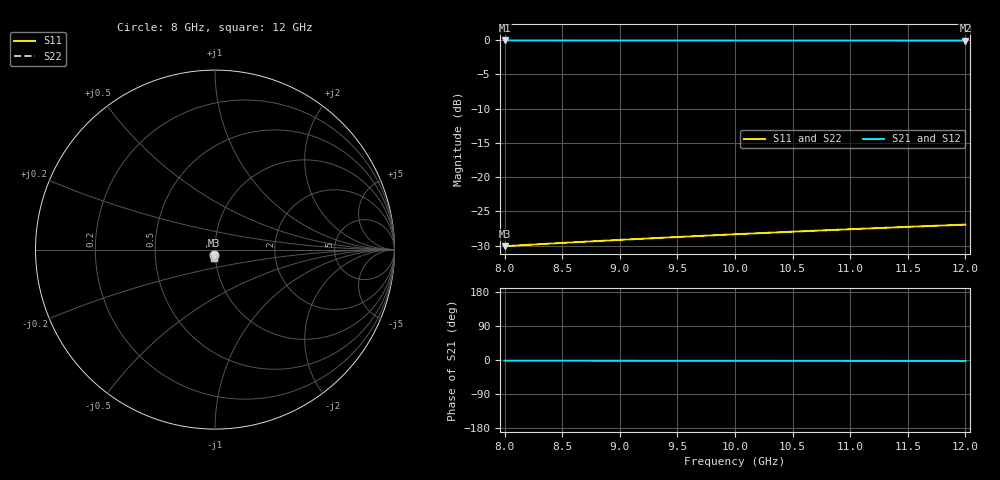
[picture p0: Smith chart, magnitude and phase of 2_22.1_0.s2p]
! Created Wed Oct 21 16:19:09 2020
# ghz S db R 50
! 2 Port Network Data from SP1.SP block
! freq  dbS11  angS11  dbS21  angS21  dbS12  angS12  dbS22  angS22
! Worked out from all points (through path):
!   9 points, 8 GHz to 12 GHz, reference 50 ohm
!   highest |S21| = -0.04 dB at 8 GHz (marker M1); lowest = -0.1 dB at 12 GHz (marker M2)
!   lowest |S11| = -30.1 dB at 8 GHz (marker M3), VSWR 1.06, Z = 49.4 - j3.06 ohm
!   |S11| at or under -10 dB: start of sweep to end of sweep
!   |S22| runs from -30.1 to -26.9 dB; largest |S21 - S12| = 0
8  -30.08 -98.9  -0.04 -1.8  -0.04 -1.8  -30.08 -98.9
8.5  -29.61 -99.0  -0.04 -1.9  -0.04 -1.9  -29.61 -99.0
9  -29.16 -99.2  -0.04 -2.0  -0.04 -2.0  -29.16 -99.2
9.5  -28.74 -99.4  -0.05 -2.1  -0.05 -2.1  -28.74 -99.4
10  -28.34 -99.5  -0.05 -2.2  -0.05 -2.2  -28.34 -99.5
10.5  -27.96 -99.6  -0.05 -2.3  -0.05 -2.3  -27.96 -99.6
11  -27.60 -99.7  -0.05 -2.4  -0.05 -2.4  -27.60 -99.7
11.5  -27.26 -99.9  -0.06 -2.5  -0.06 -2.5  -27.26 -99.9
12  -26.93 -100.0  -0.06 -2.6  -0.06 -2.6  -26.93 -100.0
